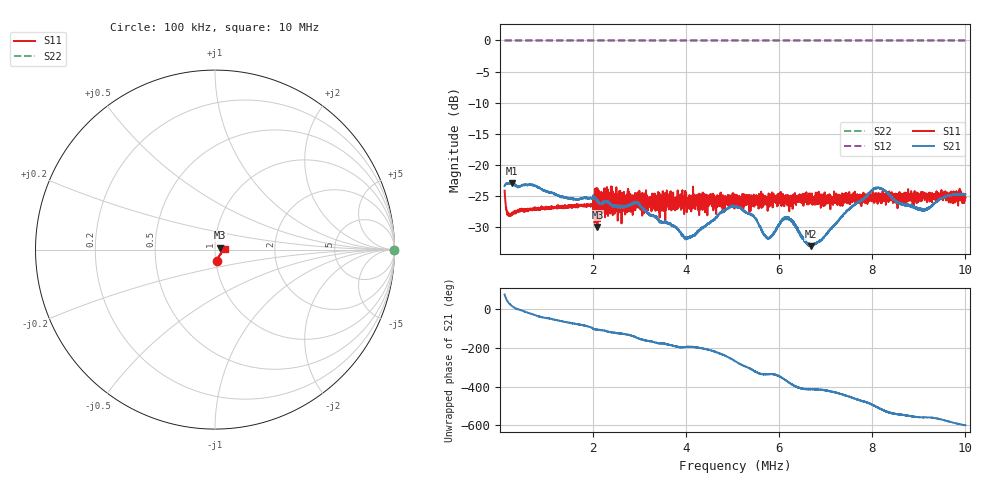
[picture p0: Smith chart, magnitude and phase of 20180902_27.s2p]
! Anritsu VNA Master:  Model: MS2026C/19
! SN:  1815009
! /card0/usr/20180902_27.s2p
! Existing Calibration Information:
! TYPE:  Current Settings,  Active Cal Settings
! TIME:  09/02/2018 06:14:07 PM,  09/02/2018 11:58:48 AM
! INTERNAL TEMP:  48.8 C,  48.8 C
! # POINTS:  4001,  4001
! START FREQ:  100.000 kHz,  100.000 kHz
! STOP FREQ:  10.000 MHz,  10.000 MHz
! SOURCE POWER:  Low,  Low
! IFBW:  500 Hz,  500 Hz
! AVG FACTOR:  5 ,  1
! REF PLANE 1:  0 mm,  0 mm
! REF PLANE 2:  0 mm,  0 mm
! CAL TYPE:  1P2P S11,S21,  1P2P S11,S21
! CAL METHOD:  SOLT,  SOLT
! CAL LINE TYPE:  Coax,  Coax
! DUT PORT 1:  N-Conn(M),  N-Conn(M)
! DUT PORT 2:  N-Conn(M),  N-Conn(M)
! CAL STATUS:  OK: Accuracy High,  --
# GHZ S RI R 50.0
! FREQ.GHZ  S11RE  S11IM  S21RE  S21IM  S12RE  S12IM  S22RE  S22IM
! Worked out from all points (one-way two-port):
!   4001 points, 100 kHz to 10 MHz, reference 50 ohm
!   highest |S21| = -22.93 dB at 253.4 kHz (marker M1); lowest = -33.1 dB at 6.679 MHz (marker M2)
!   lowest |S11| = -30.0 dB at 2.095 MHz (marker M3), VSWR 1.07, Z = 53.1 + j1.09 ohm
!   |S11| at or under -10 dB: start of sweep to end of sweep
!   |S22| runs from 0.0 to 0.0 dB; largest |S21 - S12| = 1.1
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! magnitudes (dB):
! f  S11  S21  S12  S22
! 100 kHz  -24.2  -23.4  0.0  0.0
! 169.3 kHz  -27.7  -23.0  0.0  0.0
! 253.4 kHz  -27.9  -22.9  0.0  0.0
! 1.751 MHz  -26.5  -25.5  0.0  0.0
! 2.095 MHz  -30.0  -25.8  0.0  0.0
! 2.56 MHz  -26.2  -26.8  0.0  0.0
! 2.946 MHz  -25.5  -26.1  0.0  0.0
! 3.402 MHz  -27.0  -28.9  0.0  0.0
! 4.03 MHz  -25.6  -31.8  0.0  0.0
! 5.05 MHz  -25.0  -26.7  0.0  0.0
! 5.451 MHz  -24.8  -28.3  0.0  0.0
! 5.755 MHz  -25.6  -31.9  0.0  0.0
! 6.072 MHz  -24.7  -29.0  0.0  0.0
! 6.208 MHz  -25.6  -28.8  0.0  0.0
! 6.679 MHz  -25.0  -33.1  0.0  0.0
! 6.701 MHz  -25.9  -32.9  0.0  0.0
! 8.018 MHz  -25.0  -24.0  0.0  0.0
! 8.352 MHz  -24.6  -24.7  0.0  0.0
! 8.592 MHz  -25.3  -26.1  0.0  0.0
! 9.094 MHz  -24.5  -27.1  0.0  0.0
! 9.584 MHz  -25.3  -25.1  0.0  0.0
! 10 MHz  -25.3  -24.7  0.0  0.0
